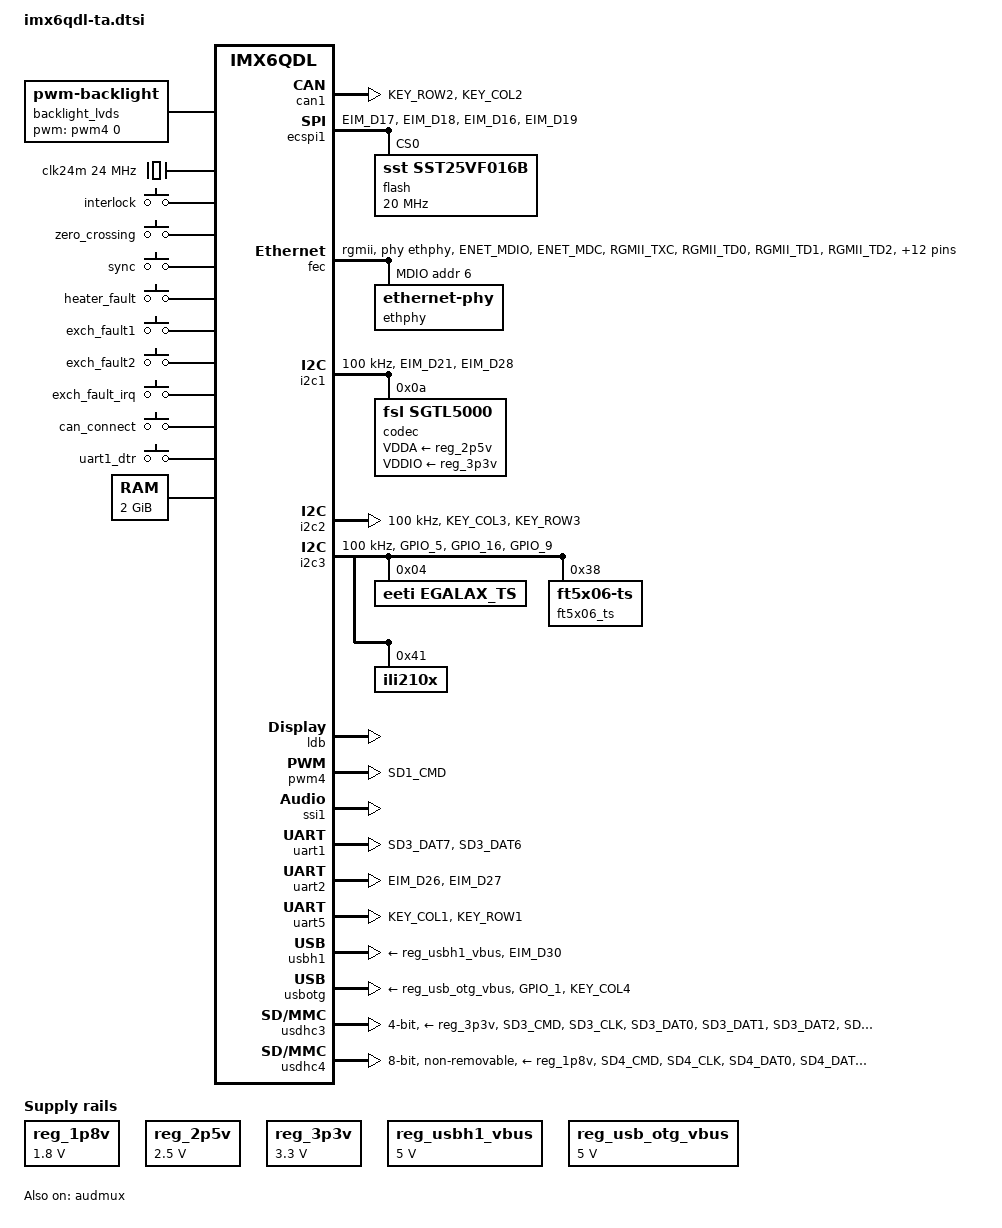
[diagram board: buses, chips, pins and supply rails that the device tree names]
/*
 * Copyright 2014 Boundary Devices
 * Copyright 2012 Freescale Semiconductor, Inc.
 * Copyright 2011 Linaro Ltd.
 *
 * The code contained herein is licensed under the GNU General Public
 * License. You may obtain a copy of the GNU General Public License
 * Version 2 or later at the following locations:
 *
 * http://www.opensource.org/licenses/gpl-license.html
 * http://www.gnu.org/copyleft/gpl.html
 */
#include <dt-bindings/gpio/gpio.h>
#include <dt-bindings/input/input.h>

/ {
	aliases {
		backlight_lvds = &backlight_lvds;
		fb_lvds = &fb_lvds;
		ldb = &ldb;
		mmc0 = &usdhc3;
		mmc1 = &usdhc4;
		mxcfb0 = &fb_lvds;
		pwm_lvds = &pwm4;
		t_lvds = &t_lvds;
	};

	backlight_lvds: backlight_lvds {
		brightness-levels = <0 10 20 30 40 50 60 70 80 90 100>;
		compatible = "pwm-backlight";
		default-brightness-level = <10>;
		display = <&fb_lvds>;
		pwms = <&pwm4 0 5000000>;
	};

	clocks {
		clk24m: clk24m {
			compatible = "fixed-clock";
			#clock-cells = <0>;
			clock-frequency = <24000000>;
		};
	};

	gpio_keys: gpio-keys {
		compatible = "gpio-keys";
	};

	memory {
		reg = <0x10000000 0x80000000>;
	};

	fb_lvds: fb@0 {
		compatible = "fsl,mxc_sdc_fb";
		disp_dev = "ldb";
		interface_pix_fmt = "RGB666";
		mode_str ="LDB-WXGA";
		default_bpp = <16>;
		int_clk = <0>;
		late_init = <0>;
		status = "disabled";
	};

	regulators {
		compatible = "simple-bus";

		reg_1p8v: 1p8v {
			compatible = "regulator-fixed";
			regulator-name = "1P8V";
			regulator-min-microvolt = <1800000>;
			regulator-max-microvolt = <1800000>;
			regulator-always-on;
		};

		reg_2p5v: 2p5v {
			compatible = "regulator-fixed";
			regulator-name = "2P5V";
			regulator-min-microvolt = <2500000>;
			regulator-max-microvolt = <2500000>;
			regulator-always-on;
		};

		reg_3p3v: 3p3v {
			compatible = "regulator-fixed";
			regulator-name = "3P3V";
			regulator-min-microvolt = <3300000>;
			regulator-max-microvolt = <3300000>;
			regulator-always-on;
		};

		reg_usbh1_vbus: usbh1_vbus {
			compatible = "regulator-fixed";
			regulator-name = "usbh1_vbus";
			regulator-min-microvolt = <5000000>;
			regulator-max-microvolt = <5000000>;
		};

		reg_usb_otg_vbus: usb_otg_vbus {
			compatible = "regulator-fixed";
			regulator-name = "usb_otg_vbus";
			regulator-min-microvolt = <5000000>;
			regulator-max-microvolt = <5000000>;
		};
	};

	sound {
		compatible = "fsl,imx6q-ta-sgtl5000",
			     "fsl,imx-audio-sgtl5000";
		model = "imx6q-ta-sgtl5000";
		ssi-controller = <&ssi1>;
		audio-codec = <&codec>;
		audio-routing =
			"MIC_IN", "Mic Jack",
			"Mic Jack", "Mic Bias",
			"Headphone Jack", "HP_OUT";
		mux-int-port = <1>;
		mux-ext-port = <3>;
	};

	v4l2_out {
		compatible = "fsl,mxc_v4l2_output";
		status = "okay";
	};

};

&iomuxc {
	pinctrl-names = "default";
	pinctrl-0 = <&pinctrl_hog_1>;
        iomuxc_imx6q_ta: iomuxc-imx6q-tagrp {
                status = "okay";
        };
};

&iomuxc_imx6q_ta {
	pinctrl_hog_1: hoggrp {
		fsl,pins = <
#define GP_EXCH_OFF			<&gpio3 11 GPIO_ACTIVE_LOW>
			MX6QDL_PAD_EIM_DA11__GPIO3_IO11		0x130b0
	/* Heater */
#define GP_HEATER_OFF			<&gpio3 4 GPIO_ACTIVE_LOW>
			MX6QDL_PAD_EIM_DA4__GPIO3_IO04		0x130b0
	/* LEDS */
#define GP_LED_RED			<&gpio3 0 GPIO_ACTIVE_HIGH>
			MX6QDL_PAD_EIM_DA0__GPIO3_IO00		0x030b0
	/* dry contact relays */
#define GP_RELAY_EVENT			<&gpio3 7 GPIO_ACTIVE_HIGH>
			MX6QDL_PAD_EIM_DA7__GPIO3_IO07		0x030b0
#define GP_RELAY_GAS			<&gpio3 9 GPIO_ACTIVE_HIGH>
			MX6QDL_PAD_EIM_DA9__GPIO3_IO09		0x030b0
		>;
	};

	pinctrl_audmux3: audmux3grp {
		fsl,pins = <
			MX6QDL_PAD_CSI0_DAT7__AUD3_RXD		0x130b0
			MX6QDL_PAD_CSI0_DAT4__AUD3_TXC		0x130b0
			MX6QDL_PAD_CSI0_DAT5__AUD3_TXD		0x110b0
			MX6QDL_PAD_CSI0_DAT6__AUD3_TXFS		0x130b0
		>;
	};

	pinctrl_ecspi1: ecspi1grp {
		fsl,pins = <
			MX6QDL_PAD_EIM_D17__ECSPI1_MISO		0x100b1
			MX6QDL_PAD_EIM_D18__ECSPI1_MOSI		0x100b1
			MX6QDL_PAD_EIM_D16__ECSPI1_SCLK		0x100b1
#define GP_ECSPI1_NOR_CS		<&gpio3 19 GPIO_ACTIVE_LOW>
			MX6QDL_PAD_EIM_D19__GPIO3_IO19		0x0b0b1
		>;
	};

	pinctrl_enet: enetgrp {
		fsl,pins = <
			MX6QDL_PAD_ENET_MDIO__ENET_MDIO		0x1b0b0
			MX6QDL_PAD_ENET_MDC__ENET_MDC		0x1b0b0
			MX6QDL_PAD_RGMII_TXC__RGMII_TXC		0x100b0
			MX6QDL_PAD_RGMII_TD0__RGMII_TD0		0x100b0
			MX6QDL_PAD_RGMII_TD1__RGMII_TD1		0x100b0
			MX6QDL_PAD_RGMII_TD2__RGMII_TD2		0x100b0
			MX6QDL_PAD_RGMII_TD3__RGMII_TD3		0x100b0
			MX6QDL_PAD_RGMII_TX_CTL__RGMII_TX_CTL	0x100b0
			MX6QDL_PAD_ENET_REF_CLK__ENET_TX_CLK	0x100b0
			MX6QDL_PAD_RGMII_RXC__RGMII_RXC		0x1b0b0
			MX6QDL_PAD_RGMII_RD0__RGMII_RD0		0x1b0b0
			MX6QDL_PAD_RGMII_RD1__RGMII_RD1		0x1b0b0
			MX6QDL_PAD_RGMII_RD2__RGMII_RD2		0x1b0b0
			MX6QDL_PAD_RGMII_RD3__RGMII_RD3		0x1b0b0
			MX6QDL_PAD_RGMII_RX_CTL__RGMII_RX_CTL	0x1b0b0
#define GP_ENET_PHY_RESET		<&gpio1 27 GPIO_ACTIVE_LOW>
			MX6QDL_PAD_ENET_RXD0__GPIO1_IO27	0x030b0
#define GPIRQ_ENET_PHY			<&gpio1 28 IRQ_TYPE_LEVEL_LOW>
			MX6QDL_PAD_ENET_TX_EN__GPIO1_IO28	0x1b0b0
#define GPIRQ_ENET		<&gpio1 6 IRQ_TYPE_LEVEL_HIGH>
			MX6QDL_PAD_GPIO_6__ENET_IRQ		0x000b1
		>;
	};

	pinctrl_flexcan1: flexcan1grp {
		fsl,pins = <
			MX6QDL_PAD_KEY_ROW2__FLEXCAN1_RX	0x1b0b0
			MX6QDL_PAD_KEY_COL2__FLEXCAN1_TX	0x1b0b0
		>;
	};

	pinctrl_gpio_keys: gpio_keysgrp {
		fsl,pins = <
#define GP_INTERLOCK_IRQ		<&gpio2 20 GPIO_ACTIVE_HIGH>
			MX6QDL_PAD_EIM_A18__GPIO2_IO20		0x1b0b0
#define GP_ZERO_CROSSING_IRQ		<&gpio2 19 GPIO_ACTIVE_HIGH>
			MX6QDL_PAD_EIM_A19__GPIO2_IO19		0x1b0b0
#define GP_SYNC_IRQ			<&gpio3 12 GPIO_ACTIVE_HIGH>
			MX6QDL_PAD_EIM_DA12__GPIO3_IO12		0x1b0b0
#define GP_HEATER_FAULT_IRQ		<&gpio3 3 GPIO_ACTIVE_HIGH>
			MX6QDL_PAD_EIM_DA3__GPIO3_IO03		0x1b0b0
#define GP_EXCH_FAULT1			<&gpio3 6 GPIO_ACTIVE_HIGH>
			MX6QDL_PAD_EIM_DA6__GPIO3_IO06		0x1b0b0
#define GP_EXCH_FAULT2			<&gpio3 5 GPIO_ACTIVE_HIGH>
			MX6QDL_PAD_EIM_DA5__GPIO3_IO05		0x1b0b0
#define GP_EXCH_FAULT_IRQ		<&gpio3 10 GPIO_ACTIVE_HIGH>
			MX6QDL_PAD_EIM_DA10__GPIO3_IO10		0x1b0b0
#define GP_CAN_CONNECT			<&gpio3 13 GPIO_ACTIVE_HIGH>
			MX6QDL_PAD_EIM_DA13__GPIO3_IO13		0x130b0
#define GP_UART1_DTR			<&gpio3 24 GPIO_ACTIVE_HIGH>
			MX6QDL_PAD_EIM_D24__GPIO3_IO24		0x1b0b1
		>;
	};

	pinctrl_i2c1: i2c1grp {
		fsl,pins = <
			MX6QDL_PAD_EIM_D21__I2C1_SCL		0x4001b8b1
			MX6QDL_PAD_EIM_D28__I2C1_SDA		0x4001b8b1
		>;
	};

	pinctrl_i2c1_1: i2c1_1grp {
		fsl,pins = <
#define GP_I2C1_SCL	<&gpio3 21 GPIO_ACTIVE_HIGH>
			MX6QDL_PAD_EIM_D21__GPIO3_IO21		0x4001b8b1
#define GP_I2C1_SDA	<&gpio3 28 GPIO_ACTIVE_HIGH>
			MX6QDL_PAD_EIM_D28__GPIO3_IO28		0x4001b8b1
		>;
	};

	pinctrl_i2c2: i2c2grp {
		fsl,pins = <
			MX6QDL_PAD_KEY_COL3__I2C2_SCL		0x4001b8b1
			MX6QDL_PAD_KEY_ROW3__I2C2_SDA		0x4001b8b1
		>;
	};

	pinctrl_i2c2_1: i2c2_1grp {
		fsl,pins = <
#define GP_I2C2_SCL	<&gpio4 12 GPIO_ACTIVE_HIGH>
			MX6QDL_PAD_KEY_COL3__GPIO4_IO12		0x4001b8b1
#define GP_I2C2_SDA	<&gpio4 13 GPIO_ACTIVE_HIGH>
			MX6QDL_PAD_KEY_ROW3__GPIO4_IO13		0x4001b8b1
		>;
	};

	pinctrl_i2c3: i2c3grp {
		fsl,pins = <
			MX6QDL_PAD_GPIO_5__I2C3_SCL		0x4001b8b1
			MX6QDL_PAD_GPIO_16__I2C3_SDA		0x4001b8b1
#define GPIRQ_I2C3_TOUCH	<&gpio1 9 IRQ_TYPE_EDGE_FALLING>
#define GP_I2C3_TOUCH		<&gpio1 9 GPIO_ACTIVE_LOW>
			MX6QDL_PAD_GPIO_9__GPIO1_IO09		0x1b0b0
		>;
	};

	pinctrl_i2c3_1: i2c3_1grp {
		fsl,pins = <
#define GP_I2C3_SCL	<&gpio1 5 GPIO_ACTIVE_HIGH>
			MX6QDL_PAD_GPIO_5__GPIO1_IO05		0x4001b8b1
#define GP_I2C3_SDA	<&gpio7 11 GPIO_ACTIVE_HIGH>
			MX6QDL_PAD_GPIO_16__GPIO7_IO11		0x4001b8b1
		>;
	};

	pinctrl_pwm4: pwm4grp {
		fsl,pins = <
			MX6QDL_PAD_SD1_CMD__PWM4_OUT		0x1b0b1
		>;
	};

	pinctrl_sgtl5000: sgtl5000grp {
		fsl,pins = <
			MX6QDL_PAD_GPIO_0__CCM_CLKO1		0x000b0		/* sys_mclk */
		>;
	};

	pinctrl_uart1: uart1grp {
		fsl,pins = <
			MX6QDL_PAD_SD3_DAT7__UART1_TX_DATA	0x1b0b1
			MX6QDL_PAD_SD3_DAT6__UART1_RX_DATA	0x1b0b1
		>;
	};

	pinctrl_uart2: uart2grp {
		fsl,pins = <
			MX6QDL_PAD_EIM_D26__UART2_TX_DATA	0x1b0b1
			MX6QDL_PAD_EIM_D27__UART2_RX_DATA	0x1b0b1
		>;
	};

	pinctrl_uart5: uart5grp {
		fsl,pins = <
			MX6QDL_PAD_KEY_COL1__UART5_TX_DATA	0x0b0b1
			MX6QDL_PAD_KEY_ROW1__UART5_RX_DATA	0x1b0b1
		>;
	};

	pinctrl_usbh1: usbh1grp {
		fsl,pins = <
			MX6QDL_PAD_EIM_D30__USB_H1_OC		0x1b0b0
		>;
	};

	pinctrl_usbh1_vbus: usbh1_vbusgrp {
		fsl,pins = <
#define GP_USBH1_PWR			<&gpio2 28 GPIO_ACTIVE_HIGH>
			MX6QDL_PAD_EIM_EB0__GPIO2_IO28          0x030b0
		>;
	};

	pinctrl_usbotg: usbotggrp {
		fsl,pins = <
			MX6QDL_PAD_GPIO_1__USB_OTG_ID		0x17059
			MX6QDL_PAD_KEY_COL4__USB_OTG_OC		0x1b0b0
		>;
	};

	pinctrl_usbotg_vbus: usbotg_vbusgrp {
		fsl,pins = <
#define GP_USB_OTG_PWR			<&gpio3 22 GPIO_ACTIVE_HIGH>
			MX6QDL_PAD_EIM_D22__GPIO3_IO22          0x030b0
		>;
	};

	pinctrl_usdhc3_50mhz: usdhc3_50mhzgrp {
		fsl,pins = <
			MX6QDL_PAD_SD3_CMD__SD3_CMD		0x17059
			MX6QDL_PAD_SD3_CLK__SD3_CLK		0x10059
			MX6QDL_PAD_SD3_DAT0__SD3_DATA0		0x17059
			MX6QDL_PAD_SD3_DAT1__SD3_DATA1		0x17059
			MX6QDL_PAD_SD3_DAT2__SD3_DATA2		0x17059
			MX6QDL_PAD_SD3_DAT3__SD3_DATA3		0x17059
			MX6QDL_PAD_NANDF_CS1__SD3_VSELECT	0x100b0
#define GP_SD3_CD			<&gpio7 0 GPIO_ACTIVE_HIGH>
			MX6QDL_PAD_SD3_DAT5__GPIO7_IO00		0x1b0b0
		>;
	};

	pinctrl_usdhc4_50mhz: usdhc4_50mhzgrp {
		fsl,pins = <
			MX6QDL_PAD_SD4_CMD__SD4_CMD		0x17059
			MX6QDL_PAD_SD4_CLK__SD4_CLK		0x10059
			MX6QDL_PAD_SD4_DAT0__SD4_DATA0		0x17059
			MX6QDL_PAD_SD4_DAT1__SD4_DATA1		0x17059
			MX6QDL_PAD_SD4_DAT2__SD4_DATA2		0x17059
			MX6QDL_PAD_SD4_DAT3__SD4_DATA3		0x17059
			MX6QDL_PAD_SD4_DAT4__SD4_DATA4		0x17059
			MX6QDL_PAD_SD4_DAT5__SD4_DATA5		0x17059
			MX6QDL_PAD_SD4_DAT6__SD4_DATA6		0x17059
			MX6QDL_PAD_SD4_DAT7__SD4_DATA7		0x17059
#define GP_EMMC_RESET	<&gpio2 6 GPIO_ACTIVE_LOW>
			MX6QDL_PAD_NANDF_D6__GPIO2_IO06		0x1b0b0
		>;
	};
};

&audmux {
	pinctrl-names = "default";
	pinctrl-0 = <&pinctrl_audmux3>;
	status = "okay";
};

&can1 {
	pinctrl-names = "default";
	pinctrl-0 = <&pinctrl_flexcan1>;
	status = "okay";
};

&ecspi1 {
	pinctrl-names = "default";
	pinctrl-0 = <&pinctrl_ecspi1>;
	fsl,spi-num-chipselects = <1>;
	cs-gpios = GP_ECSPI1_NOR_CS;
	status = "okay";

	flash: m25p80@0 {
		compatible = "sst,sst25vf016b";
		spi-max-frequency = <20000000>;
		reg = <0>;
		#address-cells = <1>;
		#size-cells = <1>;
		mtd@00000000 {
			label = "U-Boot";
			reg = <0x0 0xC0000>;
		};

		mtd@000C0000 {
			label = "env";
			reg = <0xC0000 0x2000>;
		};
		mtd@000C2000 {
			label = "splash";
			reg = <0xC2000 0x13e000>;
		};
	};
};

&fec {
	interrupts-extended = GPIRQ_ENET,
			      <&gpc 0 119 IRQ_TYPE_LEVEL_HIGH>;
	phy-handle = <&ethphy>;
	phy-mode = "rgmii";
#if 0
	phy-reset-gpios = GP_ENET_PHY_RESET;
#endif
	pinctrl-names = "default";
	pinctrl-0 = <&pinctrl_enet>;
	status = "okay";

	mdio {
		#address-cells = <0>;
		#size-cells = <1>;

		ethphy: ethernet-phy@6 {
			reg = <6>;
			interrupts-extended = GPIRQ_ENET_PHY;
		};
	};
};

&gpio_keys {
	pinctrl-names = "default";
	pinctrl-0 = <&pinctrl_gpio_keys>;
	interlock {
		label = "interlock";
		gpios = GP_INTERLOCK_IRQ;
		linux,code = <KEY_POWER>;
		gpio-key,wakeup;
	};

	zero_crossing {
		label = "zero_crossing";
		gpios = GP_ZERO_CROSSING_IRQ;
		linux,code = <KEY_MENU>;
	};

	sync {
		label = "sync";
		gpios = GP_SYNC_IRQ;
		linux,code = <KEY_HOMEPAGE>;
	};

	heater_fault {
		label = "heater_fault";
		gpios = GP_HEATER_FAULT_IRQ;
		linux,code = <KEY_BACK>;
	};

	exch_fault1 {
		label = "exch_fault1";
		gpios = GP_EXCH_FAULT1;
		linux,code = <KEY_VOLUMEUP>;
	};

	exch_fault2 {
		label = "exch_fault2";
		gpios = GP_EXCH_FAULT2;
		linux,code = <KEY_VOLUMEDOWN>;
	};

	exch_fault_irq {
		label = "exch_fault_irq";
		gpios = GP_EXCH_FAULT_IRQ;
		linux,code = <KEY_MINUS>;
	};

	can_connected {
		label = "can_connect";
		gpios = GP_CAN_CONNECT;
		linux,code = <KEY_EQUAL>;
	};

	uart1_dtr {
		label = "uart1_dtr";
		gpios = GP_UART1_DTR;
		linux,code = <KEY_1>;
	};
};

&i2c1 {
	clock-frequency = <100000>;
	pinctrl-names = "default", "gpio";
	pinctrl-0 = <&pinctrl_i2c1>;
	pinctrl-1 = <&pinctrl_i2c1_1>;
	scl-gpios = GP_I2C1_SCL;
	sda-gpios = GP_I2C1_SDA;
	status = "okay";

	codec: sgtl5000@0a {
		compatible = "fsl,sgtl5000";
		pinctrl-names = "default";
		pinctrl-0 = <&pinctrl_sgtl5000>;
		reg = <0x0a>;
		clocks = <&clks IMX6QDL_CLK_CKO>;
		VDDA-supply = <&reg_2p5v>;
		VDDIO-supply = <&reg_3p3v>;
	};
};

&i2c2 {
	clock-frequency = <100000>;
	pinctrl-names = "default", "gpio";
	pinctrl-0 = <&pinctrl_i2c2>;
	pinctrl-1 = <&pinctrl_i2c2_1>;
	scl-gpios = GP_I2C2_SCL;
	sda-gpios = GP_I2C2_SDA;
	status = "okay";
};

&i2c3 {
	clock-frequency = <100000>;
	pinctrl-names = "default", "gpio";
	pinctrl-0 = <&pinctrl_i2c3>;
	pinctrl-1 = <&pinctrl_i2c3_1>;
	scl-gpios = GP_I2C3_SCL;
	sda-gpios = GP_I2C3_SDA;
	status = "okay";

        egalax_ts@04 {
                compatible = "eeti,egalax_ts";
                reg = <0x04>;
                interrupts-extended = GPIRQ_I2C3_TOUCH;
                wakeup-gpios = GP_I2C3_TOUCH;
        };

        ft5x06_ts@38 {
		compatible = "ft5x06-ts";
		reg = <0x38>;
		interrupts-extended = GPIRQ_I2C3_TOUCH;
		wakeup-gpios = GP_I2C3_TOUCH;
	};

        ili210x@41 {
		compatible = "ili210x";
		reg = <0x41>;
		interrupts-extended = GPIRQ_I2C3_TOUCH;
		wakeup-gpios = GP_I2C3_TOUCH;
	};
};

&ldb {
	status = "okay";

	lvds-channel@0 {
		fsl,data-mapping = "spwg";
		fsl,data-width = <18>;
		primary;
		status = "okay";
		crtc = "ipu1-di0";

		display-timings {
			t_lvds: t_lvds_default {
				/* values may be changed in bootscript */
				clock-frequency = <75000000>;
				hactive = <1280>;
				vactive = <800>;
				hback-porch = <40>;
				hfront-porch = <40>;
				vback-porch = <3>;
				vfront-porch = <80>;
				hsync-len = <10>;
				vsync-len = <10>;
			};
		};
	};
};

&reg_usbh1_vbus {
	pinctrl-names = "default";
	pinctrl-0 = <&pinctrl_usbh1_vbus>;
	gpio = GP_USBH1_PWR;
	enable-active-high;
};

&reg_usb_otg_vbus {
	pinctrl-names = "default";
	pinctrl-0 = <&pinctrl_usbotg_vbus>;
	gpio = GP_USB_OTG_PWR;
	enable-active-high;
};

&pwm4 {
	pinctrl-names = "default";
	pinctrl-0 = <&pinctrl_pwm4>;
	status = "okay";
};

&ssi1 {
	fsl,mode = "i2s-slave";
	status = "okay";
};

&uart1 {
	pinctrl-names = "default";
	pinctrl-0 = <&pinctrl_uart1>;
	status = "okay";
};

&uart2 {
	pinctrl-names = "default";
	pinctrl-0 = <&pinctrl_uart2>;
	status = "okay";
};

&uart5 {
	pinctrl-names = "default";
	pinctrl-0 = <&pinctrl_uart5>;
	status = "okay";
};

&usbh1 {
	vbus-supply = <&reg_usbh1_vbus>;
	pinctrl-names = "default";
	pinctrl-0 = <&pinctrl_usbh1>;
	disable-over-current;
	status = "okay";
};

&usbotg {
	vbus-supply = <&reg_usb_otg_vbus>;
	pinctrl-names = "default";
	pinctrl-0 = <&pinctrl_usbotg>;
	disable-over-current;
	status = "okay";
};

&usdhc3 {
	pinctrl-names = "default";
	pinctrl-0 = <&pinctrl_usdhc3_50mhz>;
	bus-width = <4>;
	cd-gpios = GP_SD3_CD;
	vmmc-supply = <&reg_3p3v>;
	status = "okay";
};

&usdhc4 {
	pinctrl-names = "default";
	pinctrl-0 = <&pinctrl_usdhc4_50mhz>;
	bus-width = <8>;
	non-removable;
	vqmmc-1-8-v;
	vmmc-supply = <&reg_1p8v>;
	keep-power-in-suspend;
	status = "okay";
};
